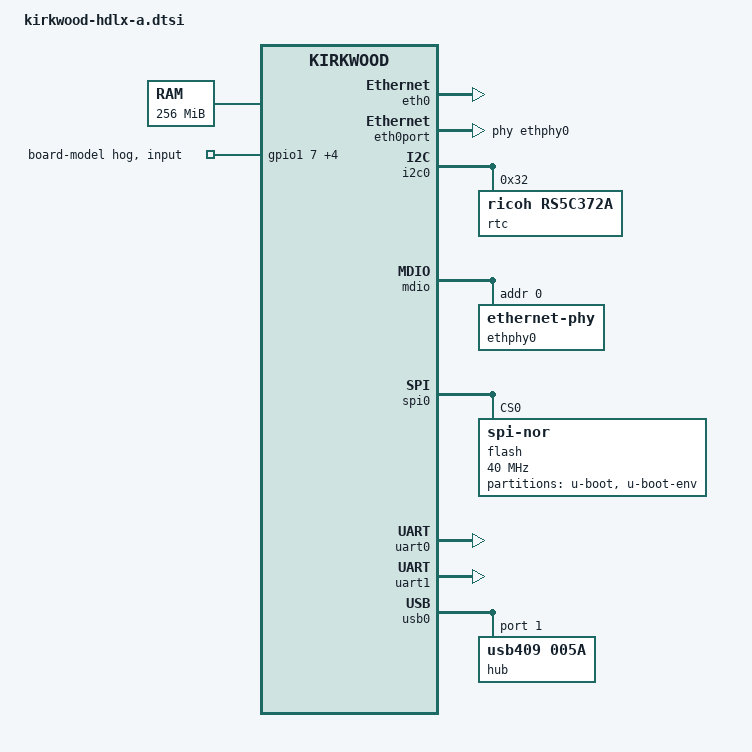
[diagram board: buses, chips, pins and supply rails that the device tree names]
// SPDX-License-Identifier: GPL-2.0-or-later OR MIT

/dts-v1/;

#include "kirkwood.dtsi"
#include "kirkwood-6282.dtsi"

/ {
	chosen {
		/*
		 * The kernel and rootfs are stored to the storage
		 * connected SATA port, port1 or port2. The path to
		 * the partition (/dev/sdXN) which contains root data
		 * will be assigned dynamically, GPT partition name is
		 * required instead.
		 */
		bootargs-append = " root=PARTLABEL=rootfs";
		stdout-path = "serial0:115200n8";
	};

	memory@0 {
		device_type = "memory";
		reg = <0x00000000 0x10000000>;
	};
};

&pinctrl {
	pmx_board_model: pmx-board-model {
		marvell,pins = "mpp39", "mpp40", "mpp41", "mpp42",
			       "mpp43";
		marvell,function = "gpio";
	};
};

&eth0 {
	status = "okay";
};

&eth0port {
	phy-handle = <&ethphy0>;
};

&gpio1 {
	/*
	 * these pins are used for board-model detection
	 * on stock firmware of HDL-A/HDL2-A
	 *   0: HDL2-A
	 *   1: HDL-A
	 */
	board-model {
		pinctrl-0 = <&pmx_board_model>;
		pinctrl-names = "default";

		gpio-hog;
		gpios = <7 GPIO_ACTIVE_HIGH>, <8 GPIO_ACTIVE_HIGH>,
			<9 GPIO_ACTIVE_HIGH>, <10 GPIO_ACTIVE_HIGH>,
			<11 GPIO_ACTIVE_HIGH>;
		input;
		line-name = "board-model";
	};
};

&i2c0 {
	status = "okay";

	rtc@32 {
		compatible = "ricoh,rs5c372a";
		reg = <0x32>;
	};
};

&mdio {
	status = "okay";

	ethphy0: ethernet-phy@0 {
		reg = <0>;
	};
};

&spi0 {
	status = "okay";

	flash@0 {
		compatible = "jedec,spi-nor";
		spi-max-frequency = <40000000>;
		reg = <0>;

		partitions {
			compatible = "fixed-partitions";
			#address-cells = <1>;
			#size-cells = <1>;

			partition@0 {
				label = "u-boot";
				reg = <0x00000 0x70000>;
				read-only;
			};

			partition@1 {
				label = "u-boot-env";
				reg = <0x70000 0x10000>;
				read-only;
			};
		};
	};
};

&rtc {
	status = "disabled";
};

&uart0 {
	status = "okay";
};

&uart1 {
	status = "okay";

	/*
	 * UART1 is used to connect to Renesas R8C/25 MCU
	 * but there is no driver.
	 * This MCU has the following functions:
	 *
	 * - LED
	 *   - Status
	 *   - HDD
	 *
	 * - Keys
	 *   - Reset
	 *   - Power
	 *
	 * - Beep Speaker
	 *   - controlled by MML (Music Macro Language) syntax
	 *
	 * - Temperature sensor
	 *
	 * - Fan Control
	 *
	 * - Power Off
	 *
	 * - Reset
	 */
};

&usb0 {
	#address-cells = <1>;
	#size-cells = <0>;
	status = "okay";

	hub@1 {
		compatible = "usb409,005a";
		reg = <1>;
		#address-cells = <1>;
		#size-cells = <0>;

		port@1 {
			reg = <1>;
		};

		port@2 {
			reg = <2>;
		};
	};
};
